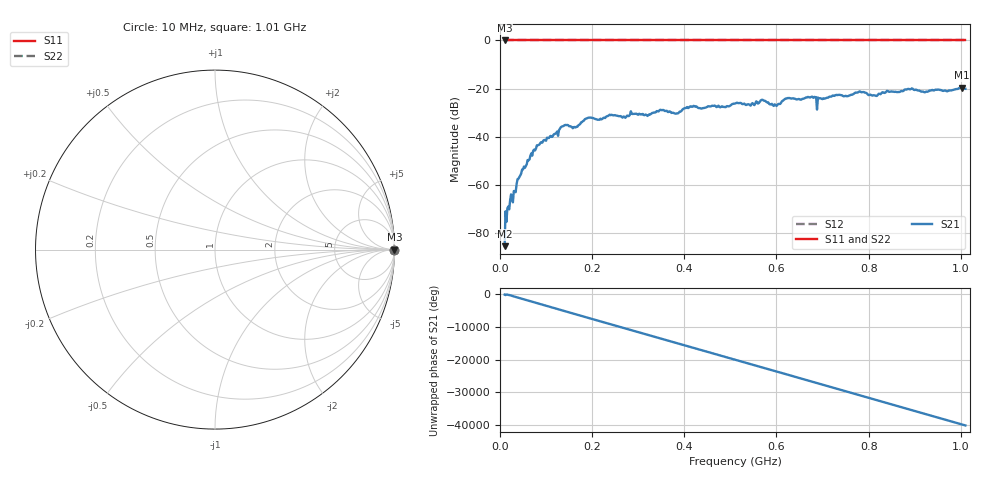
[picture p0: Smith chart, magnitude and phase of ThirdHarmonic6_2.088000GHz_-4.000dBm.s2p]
! 8/17/2025 12:59:28 AM
! C:\ANRITSUVNA\TEMP\TEMP.S2P
! CHANNEL.1
! TR.MEASUREMENT
! RAW.DATA
! RF.CORRECTION.OFF
! AVERAGING.OFF
! IF.BANDWIDTH: 5KHZ
! SWEEPTYPE:  FREQ.SWEEP(Linear)
! Reference Plane Port Info
! PORT:  PORT1  PORT2
! DISTANCE:  0  m  0  m
! TIME:  0  s  0  s
! PHASE.OFFSET:  0  deg.  0  deg.
! LOSS:  0  dB  0  dB
! REF.LOSS:  0  dB  0  dB
! REF.FREQ:  0  Hz  0  Hz
! Power Info
! POWER:  -20  dBm  -20  dBm
! EFF.POWER:  -20  dBm  -20  dBm
! SOURCE.ATTEN:  0  dB  0  dB
! TEST.ATTEN:  0  dB  0  dB
# GHZ S RI R 50.0
! FREQ.GHZ  S11RE  S11IM  S21RE  S21IM  S12RE  S12IM  S22RE  S22IM
!; PortSelection: Port_12
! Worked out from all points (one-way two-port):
!   501 points, 10 MHz to 1.01 GHz, reference 50 ohm
!   highest |S21| = -19.52 dB at 1.002 GHz (marker M1); lowest = -85.4 dB at 10 MHz (marker M2)
!   lowest |S11| = 0.0 dB at 10 MHz (marker M3)
!   |S11| at or under -10 dB: nowhere
!   |S22| runs from 0.0 to 0.0 dB; largest |S21 - S12| = 1.1
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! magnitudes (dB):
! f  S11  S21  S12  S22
! 10 MHz  0.0  -85.4  0.0  0.0
! 20 MHz  0.0  -70.1  0.0  0.0
! 30 MHz  0.0  -62.5  0.0  0.0
! 40 MHz  0.0  -57.4  0.0  0.0
! 76 MHz  0.0  -45.6  0.0  0.0
! 136 MHz  0.0  -35.6  0.0  0.0
! 162 MHz  0.0  -35.9  0.0  0.0
! 178 MHz  0.0  -33.8  0.0  0.0
! 344 MHz  0.0  -29.5  0.0  0.0
! 382 MHz  0.0  -30.4  0.0  0.0
! 416 MHz  0.0  -27.5  0.0  0.0
! 510 MHz  0.0  -26.2  0.0  0.0
! 570 MHz  0.0  -24.6  0.0  0.0
! 598 MHz  0.0  -26.8  0.0  0.0
! 624 MHz  0.0  -23.9  0.0  0.0
! 678 MHz  0.0  -23.3  0.0  0.0
! 692 MHz  0.0  -24.0  0.0  0.0
! 778 MHz  0.0  -21.4  0.0  0.0
! 814 MHz  0.0  -22.8  0.0  0.0
! 844 MHz  0.0  -21.3  0.0  0.0
! 1.002 GHz  0.0  -19.5  0.0  0.0
! 1.01 GHz  0.0  -20.1  0.0  0.0
